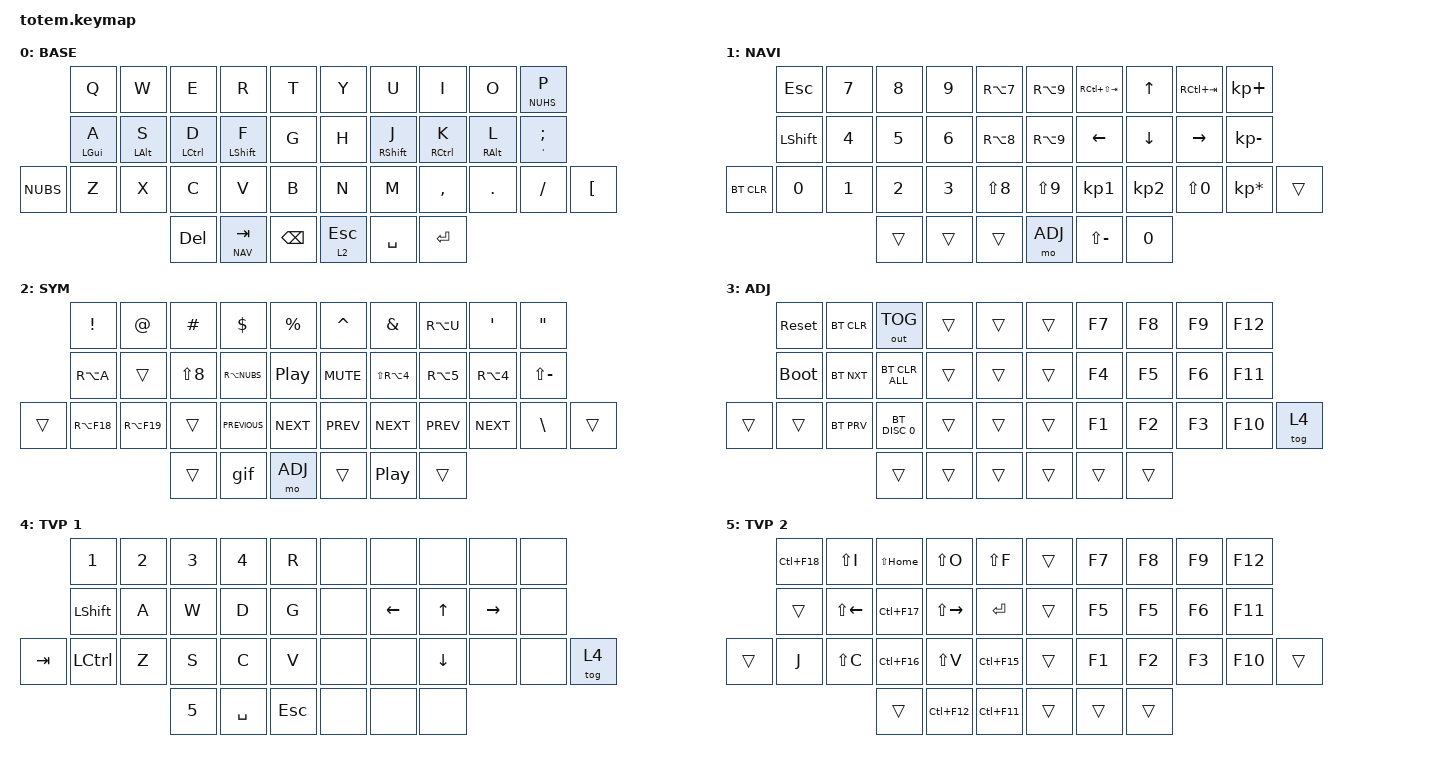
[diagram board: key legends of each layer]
//
//                                                        ▀▀▀▀▀     ▀▀▀▀▀          ▀▀█▀▀
//                                                        ▄▀▀▀▄  ▄  ▄▀▀▀▄  ▄  ▄▀▀▀▄  █  ▄▀▀▀▄
//                                                        █   █  █  █   █  █  █   █  █  █   █
//                                                         ▀▀▀   █   ▀▀▀   █   ▀▀▀   ▀   ▀▀▀
//                                                               █      ▄▄▄█▄▄▄    █   █  
//                                                               ▀      █  █  █     █▄█
//                                                             ▀▀▀▀▀    █  █  █      ▀
//                                                                      ▀  ▀  ▀
//
// ▄▄▄▄▄▄▄▄▄▄▄▄▄▄▄▄▄▄▄▄▄▄▄▄▄▄▄▄▄▄▄▄▄▄▄▄▄▄▄▄▄▄▄▄▄▄▄▄▄▄▄▄▄▄▄▄▄▄▄▄▄▄▄▄▄▄▄▄▄▄▄▄▄▄▄▄▄▄▄▄▄▄▄▄▄▄▄▄▄▄▄▄▄▄▄▄▄▄▄▄▄▄▄▄▄▄▄▄▄▄▄▄▄▄▄▄▄▄▄▄▄▄▄▄▄▄▄▄▄▄▄▄▄▄▄▄▄▄▄▄▄▄▄▄▄▄▄▄▄

#include <behaviors.dtsi>
#include <dt-bindings/zmk/bt.h>
#include <dt-bindings/zmk/keys.h>
#include <dt-bindings/zmk/outputs.h>

#define BASE 0
#define NAV  1
#define SYM  2
#define ADJ  3
#define TVP1 4
#define TVP2 5

&mt {
    quick-tap-ms = <100>;
    global-quick-tap;
    flavor = "tap-preferred";
    tapping-term-ms = <170>;
};

/ {
    combos {
        compatible = "zmk,combos";

        combo_esc {
            timeout-ms = <50>;
            key-positions = <0 1>;
            bindings = <&kp ESC>;
        };

        combo_tvp {
            timeout-ms = <100>;
            key-positions = <11 12 13>;
            bindings = <&tog TVP1>;
        };
    };

    macros {
        gif: gif {
            label = "giphy";
            compatible = "zmk,behavior-macro";
            #binding-cells = <0>;
            bindings =
                <&macro_press>,
                <&kp LSHFT>,
                <&macro_tap>,
                <&kp N2>,
                <&macro_release>,
                <&kp LSHFT>,
                <&macro_tap>,
                <&kp G &kp I &kp F>;
        };
    };

    keymap {
        compatible = "zmk,keymap";

        // ▄▄▄▄▄▄▄▄▄▄▄▄▄▄▄▄▄▄▄▄▄▄▄▄▄▄▄▄▄▄▄▄▄▄▄▄▄▄▄▄▄▄▄▄▄▄▄▄▄▄▄▄▄▄▄▄▄▄▄▄▄▄▄▄▄▄▄▄▄▄▄▄▄▄▄▄▄▄▄▄▄▄▄▄▄▄▄▄▄▄▄▄▄▄▄▄▄▄▄▄▄▄▄▄▄▄▄▄▄▄▄▄▄▄▄▄▄▄▄▄▄▄▄▄▄▄▄▄▄▄▄▄▄▄▄▄▄▄▄▄▄▄▄▄▄▄▄▄▄

        base_layer {
            // ┏━━━━━━━━━━━━━━━━━━━━━━━━━━━━━━━━━━━━━━━┓

            label = "BASE";

            // ┗━━━━━━━━━━━━━━━━━━━━━━━━━━━━━━━━━━━━━━━┛
            //             ┏━━━━━━━━━━━┳━━━━━━━━━━━┳━━━━━━━━━━━┳━━━━━━━━━━━┳━━━━━━━━━━━┓   ┏━━━━━━━━━━━┳━━━━━━━━━━━┳━━━━━━━━━━━┳━━━━━━━━━━━┳━━━━━━━━━━━┓
            //             ┃     Q     ┃     W     ┃     F     ┃     P     ┃     G     ┃   ┃     J     ┃     L     ┃     U     ┃     Y     ┃     ;     ┃
            //             ┣━━━━━━━━━━━╋━━━━━━━━━━━╋━━━━━━━━━━━╋━━━━━━━━━━━╋━━━━━━━━━━━┫   ┣━━━━━━━━━━━╋━━━━━━━━━━━╋━━━━━━━━━━━╋━━━━━━━━━━━╋━━━━━━━━━━━┫
            //             ┃     A     ┃     R     ┃     S     ┃     T     ┃     D     ┃   ┃     H     ┃     N     ┃     E     ┃     I     ┃     O     ┃
            // ┏━━━━━━━━━━━╋━━━━━━━━━━━╋━━━━━━━━━━━╋━━━━━━━━━━━╋━━━━━━━━━━━╋━━━━━━━━━━━┫   ┣━━━━━━━━━━━╋━━━━━━━━━━━╋━━━━━━━━━━━╋━━━━━━━━━━━╋━━━━━━━━━━━╋━━━━━━━━━━━┓
            // ┃     Q     ┃     Z     ┃     X     ┃     C     ┃     V     ┃     B     ┃   ┃     K     ┃     M     ┃     ,     ┃     .     ┃     /     ┃     \     ┃
            // ┗━━━━━━━━━━━┻━━━━━━━━━━━┻━━━━━━━━━━━╋━━━━━━━━━━━╋━━━━━━━━━━━╋━━━━━━━━━━━┫   ┣━━━━━━━━━━━╋━━━━━━━━━━━╋━━━━━━━━━━━╋━━━━━━━━━━━┻━━━━━━━━━━━┻━━━━━━━━━━━┛
            //                                     ┃    DEL    ┃    TAB    ┃    SPC    ┃   ┃   ENTER   ┃           ┃   BSPC    ┃
            //                                     ┗━━━━━━━━━━━┻━━━━━━━━━━━┻━━━━━━━━━━━┛   ┗━━━━━━━━━━━┻━━━━━━━━━━━┻━━━━━━━━━━━┛

            bindings = <
          &kp Q       &kp W       &kp E        &kp R        &kp T            &kp Y         &kp U        &kp I        &kp O       &mt NUHS P
          &mt LGUI A  &mt LALT S  &mt LCTRL D  &mt LSHFT F  &kp G            &kp H         &mt RSHFT J  &mt RCTRL K  &mt RALT L  &mt SQT SEMICOLON
&kp NUBS  &kp Z       &kp X       &kp C        &kp V        &kp B            &kp N         &kp M        &kp COMMA    &kp DOT     &kp FSLH           &kp LBKT
                                  &kp DEL      &lt NAV TAB  &kp BACKSPACE    &lt 2 ESCAPE  &kp SPACE    &kp ENTER
            >;
        };

        // ▄▄▄▄▄▄▄▄▄▄▄▄▄▄▄▄▄▄▄▄▄▄▄▄▄▄▄▄▄▄▄▄▄▄▄▄▄▄▄▄▄▄▄▄▄▄▄▄▄▄▄▄▄▄▄▄▄▄▄▄▄▄▄▄▄▄▄▄▄▄▄▄▄▄▄▄▄▄▄▄▄▄▄▄▄▄▄▄▄▄▄▄▄▄▄▄▄▄▄▄▄▄▄▄▄▄▄▄▄▄▄▄▄▄▄▄▄▄▄▄▄▄▄▄▄▄▄▄▄▄▄▄▄▄▄▄▄▄▄▄▄▄▄▄▄▄▄▄▄

        nav_layer {
            // ┏━━━━━━━━━━━━━━━━━━━━━━━━━━━━━━━━━━━━━━━┓

            label = "NAVI";

            // ┗━━━━━━━━━━━━━━━━━━━━━━━━━━━━━━━━━━━━━━━┛
            //             ┏━━━━━━━━━━━┳━━━━━━━━━━━┳━━━━━━━━━━━┳━━━━━━━━━━━┳━━━━━━━━━━━┓   ┏━━━━━━━━━━━┳━━━━━━━━━━━┳━━━━━━━━━━━┳━━━━━━━━━━━┳━━━━━━━━━━━┓
            //             ┃           ┃           ┃     UP    ┃           ┃     {     ┃   ┃     }     ┃     7     ┃     8     ┃     9     ┃     +     ┃
            //             ┣━━━━━━━━━━━╋━━━━━━━━━━━╋━━━━━━━━━━━╋━━━━━━━━━━━╋━━━━━━━━━━━┫   ┣━━━━━━━━━━━╋━━━━━━━━━━━╋━━━━━━━━━━━╋━━━━━━━━━━━╋━━━━━━━━━━━┫
            //             ┃   SHIFT   ┃   LEFT    ┃    DOWN   ┃   RIGHT   ┃     [     ┃   ┃     ]     ┃     4     ┃     5     ┃     6     ┃     -     ┃
            // ┏━━━━━━━━━━━╋━━━━━━━━━━━╋━━━━━━━━━━━╋━━━━━━━━━━━╋━━━━━━━━━━━╋━━━━━━━━━━━┫   ┣━━━━━━━━━━━╋━━━━━━━━━━━╋━━━━━━━━━━━╋━━━━━━━━━━━╋━━━━━━━━━━━╋━━━━━━━━━━━┓
            // ┃           ┃           ┃   P UP    ┃  C LOCK   ┃  P DOWN   ┃     (     ┃   ┃     )     ┃     1     ┃     2     ┃     3     ┃     *     ┃           ┃
            // ┗━━━━━━━━━━━┻━━━━━━━━━━━┻━━━━━━━━━━━╋━━━━━━━━━━━╋━━━━━━━━━━━╋━━━━━━━━━━━┫   ┣━━━━━━━━━━━╋━━━━━━━━━━━╋━━━━━━━━━━━╋━━━━━━━━━━━┻━━━━━━━━━━━┻━━━━━━━━━━━┛
            //                                     ┃           ┃    TAB    ┃    SPC    ┃   ┃    DEL    ┃     0     ┃           ┃
            //                                     ┗━━━━━━━━━━━┻━━━━━━━━━━━┻━━━━━━━━━━━┛   ┗━━━━━━━━━━━┻━━━━━━━━━━━┻━━━━━━━━━━━┛

            bindings = <
            &kp ESC       &kp N7  &kp N8  &kp N9  &kp RA(N7)    &kp RA(N9)  &kp RC(LS(TAB))  &kp UP_ARROW  &kp RC(TAB)  &kp KP_PLUS
            &kp LSHFT     &kp N4  &kp N5  &kp N6  &kp RA(N8)    &kp RA(N9)  &kp LEFT         &kp DOWN      &kp RIGHT    &kp KP_MINUS
&bt BT_CLR  &kp NUMBER_0  &kp N1  &kp N2  &kp N3  &kp LS(N8)    &kp LS(N9)  &kp KP_N1        &kp KP_N2     &kp LS(N0)   &kp KP_MULTIPLY  &trans
                                  &trans  &trans  &trans        &mo ADJ     &kp LS(MINUS)    &kp N0
            >;
        };

        // ▄▄▄▄▄▄▄▄▄▄▄▄▄▄▄▄▄▄▄▄▄▄▄▄▄▄▄▄▄▄▄▄▄▄▄▄▄▄▄▄▄▄▄▄▄▄▄▄▄▄▄▄▄▄▄▄▄▄▄▄▄▄▄▄▄▄▄▄▄▄▄▄▄▄▄▄▄▄▄▄▄▄▄▄▄▄▄▄▄▄▄▄▄▄▄▄▄▄▄▄▄▄▄▄▄▄▄▄▄▄▄▄▄▄▄▄▄▄▄▄▄▄▄▄▄▄▄▄▄▄▄▄▄▄▄▄▄▄▄▄▄▄▄▄▄▄▄▄▄

        sim_layer {
            // ┏━━━━━━━━━━━━━━━━━━━━━━━━━━━━━━━━━━━━━━━┓

            label = "SYM";

            // ┗━━━━━━━━━━━━━━━━━━━━━━━━━━━━━━━━━━━━━━━┛
            //             ┏━━━━━━━━━━━┳━━━━━━━━━━━┳━━━━━━━━━━━┳━━━━━━━━━━━┳━━━━━━━━━━━┓   ┏━━━━━━━━━━━┳━━━━━━━━━━━┳━━━━━━━━━━━┳━━━━━━━━━━━┳━━━━━━━━━━━┓
            //             ┃     !     ┃     @     ┃     #     ┃     $     ┃     %     ┃   ┃     ˆ     ┃     &     ┃     Ü     ┃     '     ┃     "     ┃
            //             ┣━━━━━━━━━━━╋━━━━━━━━━━━╋━━━━━━━━━━━╋━━━━━━━━━━━╋━━━━━━━━━━━┫   ┣━━━━━━━━━━━╋━━━━━━━━━━━╋━━━━━━━━━━━╋━━━━━━━━━━━╋━━━━━━━━━━━┫
            //             ┃     Ä     ┃           ┃    SZ     ┃           ┃           ┃   ┃   MUTE    ┃   YEN     ┃   EURO    ┃  POUND    ┃     Ö     ┃
            // ┏━━━━━━━━━━━╋━━━━━━━━━━━╋━━━━━━━━━━━╋━━━━━━━━━━━╋━━━━━━━━━━━╋━━━━━━━━━━━┫   ┣━━━━━━━━━━━╋━━━━━━━━━━━╋━━━━━━━━━━━╋━━━━━━━━━━━╋━━━━━━━━━━━╋━━━━━━━━━━━┓
            // ┃           ┃  EMAIL1   ┃  EMAIL2   ┃           ┃           ┃           ┃   ┃   VOL-    ┃   VOL+    ┃   LAST    ┃   NEXT    ┃     \     ┃           ┃
            // ┗━━━━━━━━━━━┻━━━━━━━━━━━┻━━━━━━━━━━━╋━━━━━━━━━━━╋━━━━━━━━━━━╋━━━━━━━━━━━┫   ┣━━━━━━━━━━━╋━━━━━━━━━━━╋━━━━━━━━━━━╋━━━━━━━━━━━┻━━━━━━━━━━━┻━━━━━━━━━━━┛
            //                                     ┃           ┃    GIF    ┃    ADJ    ┃   ┃           ┃           ┃           ┃
            //                                     ┗━━━━━━━━━━━┻━━━━━━━━━━━┻━━━━━━━━━━━┛   ┗━━━━━━━━━━━┻━━━━━━━━━━━┻━━━━━━━━━━━┛

            bindings = <
        &kp EXCL     &kp AT       &kp HASH    &kp DLLR        &kp PRCNT           &kp CARET   &kp AMPS        &kp RA(U)   &kp SQT     &kp DQT
        &kp RA(A)    &trans       &kp LS(N8)  &kp RA(NUBS)    &kp C_PLAY_PAUSE    &kp C_MUTE  &kp LS(RA(N4))  &kp RA(N5)  &kp RA(N4)  &kp LS(MINUS)
&trans  &kp RA(F18)  &kp RA(F19)  &trans      &kp C_PREVIOUS  &kp C_NEXT          &kp C_PREV  &kp C_NEXT      &kp C_PREV  &kp C_NEXT  &kp BSLH       &trans
                                  &trans      &gif            &mo ADJ             &trans      &kp C_PP        &trans
            >;
        };

        // ▄▄▄▄▄▄▄▄▄▄▄▄▄▄▄▄▄▄▄▄▄▄▄▄▄▄▄▄▄▄▄▄▄▄▄▄▄▄▄▄▄▄▄▄▄▄▄▄▄▄▄▄▄▄▄▄▄▄▄▄▄▄▄▄▄▄▄▄▄▄▄▄▄▄▄▄▄▄▄▄▄▄▄▄▄▄▄▄▄▄▄▄▄▄▄▄▄▄▄▄▄▄▄▄▄▄▄▄▄▄▄▄▄▄▄▄▄▄▄▄▄▄▄▄▄▄▄▄▄▄▄▄▄▄▄▄▄▄▄▄▄▄▄▄▄▄▄▄▄

        adjust_layer {
            // ┏━━━━━━━━━━━━━━━━━━━━━━━━━━━━━━━━━━━━━━━┓

            label = "ADJ";

            // ┗━━━━━━━━━━━━━━━━━━━━━━━━━━━━━━━━━━━━━━━┛
            //             ┏━━━━━━━━━━━┳━━━━━━━━━━━┳━━━━━━━━━━━┳━━━━━━━━━━━┳━━━━━━━━━━━┓   ┏━━━━━━━━━━━┳━━━━━━━━━━━┳━━━━━━━━━━━┳━━━━━━━━━━━┳━━━━━━━━━━━┓
            //             ┃   RESET   ┃ BT CLEAR  ┃  OUT TOG  ┃           ┃           ┃   ┃           ┃    F7     ┃    F8     ┃    F9     ┃    F12    ┃
            //             ┣━━━━━━━━━━━╋━━━━━━━━━━━╋━━━━━━━━━━━╋━━━━━━━━━━━╋━━━━━━━━━━━┫   ┣━━━━━━━━━━━╋━━━━━━━━━━━╋━━━━━━━━━━━╋━━━━━━━━━━━╋━━━━━━━━━━━┫
            //             ┃ BOOTLOAD  ┃ BT NEXT   ┃           ┃           ┃           ┃   ┃           ┃    F4     ┃    F5     ┃    F6     ┃    F11    ┃
            // ┏━━━━━━━━━━━╋━━━━━━━━━━━╋━━━━━━━━━━━╋━━━━━━━━━━━╋━━━━━━━━━━━╋━━━━━━━━━━━┫   ┣━━━━━━━━━━━╋━━━━━━━━━━━╋━━━━━━━━━━━╋━━━━━━━━━━━╋━━━━━━━━━━━╋━━━━━━━━━━━┓
            // ┃           ┃           ┃ BT PREV   ┃           ┃           ┃           ┃   ┃           ┃    F1     ┃    F2     ┃    F3     ┃    F10    ┃           ┃
            // ┗━━━━━━━━━━━┻━━━━━━━━━━━┻━━━━━━━━━━━╋━━━━━━━━━━━╋━━━━━━━━━━━╋━━━━━━━━━━━┫   ┣━━━━━━━━━━━╋━━━━━━━━━━━╋━━━━━━━━━━━╋━━━━━━━━━━━┻━━━━━━━━━━━┻━━━━━━━━━━━┛
            //                                     ┃           ┃           ┃           ┃   ┃           ┃           ┃           ┃
            //                                     ┗━━━━━━━━━━━┻━━━━━━━━━━━┻━━━━━━━━━━━┛   ┗━━━━━━━━━━━┻━━━━━━━━━━━┻━━━━━━━━━━━┛

            bindings = <
        &sys_reset   &bt BT_CLR  &out OUT_TOG    &trans  &trans    &trans  &kp F7  &kp F8  &kp F9  &kp F12
        &bootloader  &bt BT_NXT  &bt BT_CLR_ALL  &trans  &trans    &trans  &kp F4  &kp F5  &kp F6  &kp F11
&trans  &trans       &bt BT_PRV  &bt BT_DISC 0   &trans  &trans    &trans  &kp F1  &kp F2  &kp F3  &kp F10  &tog 4
                                 &trans          &trans  &trans    &trans  &trans  &trans
            >;
        };

        // ▄▄▄▄▄▄▄▄▄▄▄▄▄▄▄▄▄▄▄▄▄▄▄▄▄▄▄▄▄▄▄▄▄▄▄▄▄▄▄▄▄▄▄▄▄▄▄▄▄▄▄▄▄▄▄▄▄▄▄▄▄▄▄▄▄▄▄▄▄▄▄▄▄▄▄▄▄▄▄▄▄▄▄▄▄▄▄▄▄▄▄▄▄▄▄▄▄▄▄▄▄▄▄▄▄▄▄▄▄▄▄▄▄▄▄▄▄▄▄▄▄▄▄▄▄▄▄▄▄▄▄▄▄▄▄▄▄▄▄▄▄▄▄▄▄▄▄▄▄

        game_layer {
            // ┏━━━━━━━━━━━━━━━━━━━━━━━━━━━━━━━━━━━━━━━┓

            label = "TVP 1";

            // ┗━━━━━━━━━━━━━━━━━━━━━━━━━━━━━━━━━━━━━━━┛
            //             ┏━━━━━━━━━━━┳━━━━━━━━━━━┳━━━━━━━━━━━┳━━━━━━━━━━━┳━━━━━━━━━━━┓   ┏━━━━━━━━━━━┳━━━━━━━━━━━┳━━━━━━━━━━━┳━━━━━━━━━━━┳━━━━━━━━━━━┓
            //             ┃ NEXT FILE ┃ MARK IN   ┃ ROTATE    ┃ MARK OUT  ┃ SHOW SNAP ┃   ┃           ┃           ┃           ┃           ┃           ┃
            //             ┣━━━━━━━━━━━╋━━━━━━━━━━━╋━━━━━━━━━━━╋━━━━━━━━━━━╋━━━━━━━━━━━┫   ┣━━━━━━━━━━━╋━━━━━━━━━━━╋━━━━━━━━━━━╋━━━━━━━━━━━╋━━━━━━━━━━━┫
            //             ┃ TVP II    ┃ LEFT      ┃ PAN       ┃ RIGHT     ┃ PLAY/FLIP ┃   ┃           ┃           ┃           ┃           ┃           ┃
            // ┏━━━━━━━━━━━╋━━━━━━━━━━━╋━━━━━━━━━━━╋━━━━━━━━━━━╋━━━━━━━━━━━╋━━━━━━━━━━━┫   ┣━━━━━━━━━━━╋━━━━━━━━━━━╋━━━━━━━━━━━╋━━━━━━━━━━━╋━━━━━━━━━━━╋━━━━━━━━━━━┓
            // ┃ FULLSCR   ┃ SHIFT     ┃ COPY      ┃ DELETE    ┃ PASTE     ┃ IMG MARK  ┃   ┃           ┃           ┃           ┃           ┃           ┃           ┃
            // ┗━━━━━━━━━━━┻━━━━━━━━━━━┻━━━━━━━━━━━╋━━━━━━━━━━━╋━━━━━━━━━━━╋━━━━━━━━━━━┫   ┣━━━━━━━━━━━╋━━━━━━━━━━━╋━━━━━━━━━━━╋━━━━━━━━━━━┻━━━━━━━━━━━┻━━━━━━━━━━━┛
            //                                     ┃           ┃ UNDO/SAVE ┃  SEL/MOV  ┃   ┃           ┃           ┃           ┃
            //                                     ┗━━━━━━━━━━━┻━━━━━━━━━━━┻━━━━━━━━━━━┛   ┗━━━━━━━━━━━┻━━━━━━━━━━━┻━━━━━━━━━━━┛

            bindings = <
         &kp NUMBER_1    &kp NUMBER_2  &kp NUMBER_3  &kp NUMBER_4  &kp R         &none  &none     &none         &none      &none
         &kp LEFT_SHIFT  &kp A         &kp W         &kp D         &kp G         &none  &kp LEFT  &kp UP_ARROW  &kp RIGHT  &none
&kp TAB  &kp LCTRL       &kp Z         &kp S         &kp C         &kp V         &none  &none     &kp DOWN      &none      &none  &tog 4
                                       &kp N5        &kp SPACE     &kp ESCAPE    &none  &none     &none
            >;
        };

        // ▄▄▄▄▄▄▄▄▄▄▄▄▄▄▄▄▄▄▄▄▄▄▄▄▄▄▄▄▄▄▄▄▄▄▄▄▄▄▄▄▄▄▄▄▄▄▄▄▄▄▄▄▄▄▄▄▄▄▄▄▄▄▄▄▄▄▄▄▄▄▄▄▄▄▄▄▄▄▄▄▄▄▄▄▄▄▄▄▄▄▄▄▄▄▄▄▄▄▄▄▄▄▄▄▄▄▄▄▄▄▄▄▄▄▄▄▄▄▄▄▄▄▄▄▄▄▄▄▄▄▄▄▄▄▄▄▄▄▄▄▄▄▄▄▄▄▄▄▄

        tvp2_layer {
            // ┏━━━━━━━━━━━━━━━━━━━━━━━━━━━━━━━━━━━━━━━┓

            label = "TVP 2";

            // ┗━━━━━━━━━━━━━━━━━━━━━━━━━━━━━━━━━━━━━━━┛
            //             ┏━━━━━━━━━━━┳━━━━━━━━━━━┳━━━━━━━━━━━┳━━━━━━━━━━━┳━━━━━━━━━━━┓   ┏━━━━━━━━━━━┳━━━━━━━━━━━┳━━━━━━━━━━━┳━━━━━━━━━━━┳━━━━━━━━━━━┓
            //             ┃ SOLO      ┃ TOGGLE IN ┃ RESET ROT ┃ TOGGLE OUT┃ TAKE SNAP ┃   ┃           ┃           ┃           ┃           ┃           ┃
            //             ┣━━━━━━━━━━━╋━━━━━━━━━━━╋━━━━━━━━━━━╋━━━━━━━━━━━╋━━━━━━━━━━━┫   ┣━━━━━━━━━━━╋━━━━━━━━━━━╋━━━━━━━━━━━╋━━━━━━━━━━━╋━━━━━━━━━━━┫
            //             ┃ ---       ┃ LAST KEY  ┃ NEW KEY   ┃ NEXT KEY  ┃ ENTER     ┃   ┃           ┃           ┃           ┃           ┃           ┃
            // ┏━━━━━━━━━━━╋━━━━━━━━━━━╋━━━━━━━━━━━╋━━━━━━━━━━━╋━━━━━━━━━━━╋━━━━━━━━━━━┫   ┣━━━━━━━━━━━╋━━━━━━━━━━━╋━━━━━━━━━━━╋━━━━━━━━━━━╋━━━━━━━━━━━╋━━━━━━━━━━━┓
            // ┃           ┃ FULLSCR   ┃ CPY2BRUSH ┃ DEL HEAD  ┃ PSTinPLACE┃ BOOK MARK ┃   ┃           ┃           ┃           ┃           ┃           ┃           ┃
            // ┗━━━━━━━━━━━┻━━━━━━━━━━━┻━━━━━━━━━━━╋━━━━━━━━━━━╋━━━━━━━━━━━╋━━━━━━━━━━━┫   ┣━━━━━━━━━━━╋━━━━━━━━━━━╋━━━━━━━━━━━╋━━━━━━━━━━━┻━━━━━━━━━━━┻━━━━━━━━━━━┛
            //                                     ┃           ┃ REDO/SAV1 ┃TRANS/WARP ┃   ┃           ┃           ┃           ┃
            //                                     ┗━━━━━━━━━━━┻━━━━━━━━━━━┻━━━━━━━━━━━┛   ┗━━━━━━━━━━━┻━━━━━━━━━━━┻━━━━━━━━━━━┛

            bindings = <
        &kp LC(F18)  &kp LS(I)     &kp LS(HOME)  &kp LS(O)      &kp LS(F)      &trans  &kp F7  &kp F8  &kp F9  &kp F12
        &trans       &kp LS(LEFT)  &kp LC(F17)   &kp LS(RIGHT)  &kp RET        &trans  &kp F5  &kp F5  &kp F6  &kp F11
&trans  &kp J        &kp LS(C)     &kp LC(F16)   &kp LS(V)      &kp LC(F15)    &trans  &kp F1  &kp F2  &kp F3  &kp F10  &trans
                                   &trans        &kp LC(F12)    &kp LC(F11)    &trans  &trans  &trans
            >;
        };
    };
};
